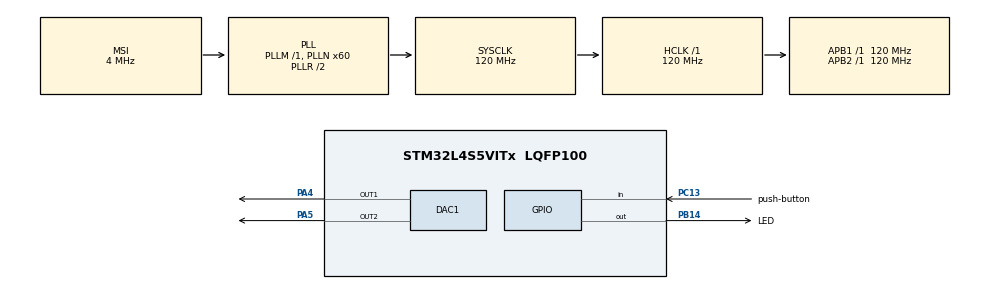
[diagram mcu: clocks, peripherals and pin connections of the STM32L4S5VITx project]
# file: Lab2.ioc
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ADC1.Channel-0\#ChannelRegularConversion=ADC_CHANNEL_VREFINT
ADC1.Channel-1\#ChannelRegularConversion=ADC_CHANNEL_TEMPSENSOR
ADC1.DiscontinuousConvMode=ENABLE
ADC1.NbrOfConversion=2
ADC1.NbrOfConversionFlag=1
ADC1.OffsetNumber-0\#ChannelRegularConversion=ADC_OFFSET_NONE
ADC1.OffsetNumber-1\#ChannelRegularConversion=ADC_OFFSET_NONE
ADC1.Rank-0\#ChannelRegularConversion=1
ADC1.Rank-1\#ChannelRegularConversion=2
ADC1.SamplingTime-0\#ChannelRegularConversion=ADC_SAMPLETIME_24CYCLES_5
ADC1.SamplingTime-1\#ChannelRegularConversion=ADC_SAMPLETIME_24CYCLES_5
ADC1.master=1
DAC1.DAC_Channel-DAC_OUT2=DAC_CHANNEL_2
Mcu.Family=STM32L4
Mcu.Name=STM32L4S5VITx
Mcu.Package=LQFP100
NVIC.PriorityGroup=NVIC_PRIORITYGROUP_4
PA13\ (JTMS/SWDIO).Signal=SYS_JTMS-SWDIO
PA4.Signal=COMP_DAC11_group
PA5.Signal=COMP_DAC12_group
PB14.GPIO_Label=LED
PB14.Signal=GPIO_Output
PB3\ (JTDO/TRACESWO).Signal=SYS_JTDO-SWO
PC13.GPIO_Label=push-button
PC13.Signal=GPIO_Input
ProjectManager.HeapSize=0x200
ProjectManager.StackSize=0x400
ProjectManager.TargetToolchain=STM32CubeIDE
RCC.ADCFreq_Value=48000000
RCC.AHBFreq_Value=120000000
RCC.APB1Freq_Value=120000000
RCC.APB1TimFreq_Value=120000000
RCC.APB2Freq_Value=120000000
RCC.APB2TimFreq_Value=120000000
RCC.CortexFreq_Value=120000000
RCC.HCLKFreq_Value=120000000
RCC.HSE_VALUE=8000000
RCC.HSI48_VALUE=48000000
RCC.HSI_VALUE=16000000
RCC.LSE_VALUE=32768
RCC.MSI_VALUE=4000000
RCC.PLLN=60
RCC.PLLSAI1N=24
RCC.SYSCLKFreq_VALUE=120000000
RCC.SYSCLKSource=RCC_SYSCLKSOURCE_PLLCLK
RCC.USBFreq_Value=48000000
RCC.VCOOutputFreq_Value=240000000
SH.COMP_DAC11_group.0=DAC1_OUT1,DAC_OUT1
SH.COMP_DAC12_group.0=DAC1_OUT2,DAC_OUT2
VP_ADC1_TempSens_Input.Mode=IN-TempSens
VP_ADC1_Vref_Input.Mode=IN-Vrefint
board=B-L4S5I-IOT01A

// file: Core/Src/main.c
/* USER CODE BEGIN Header */
/**
  ******************************************************************************
  * @file           : main.c
  * @brief          : Main program body
  ******************************************************************************
  * @attention
  *
  * Copyright (c) 2023 STMicroelectronics.
  * All rights reserved.
  *
  * This software is licensed under terms that can be found in the LICENSE file
  * in the root directory of this software component.
  * If no LICENSE file comes with this software, it is provided AS-IS.
  *
  ******************************************************************************
  */
/* USER CODE END Header */
#include "main.h"

/* USER CODE BEGIN Includes */
#define ARM_MATH_CM4
#include "arm_math.h"
/* USER CODE END Includes */

ADC_HandleTypeDef hadc1;

DAC_HandleTypeDef hdac1;

void SystemClock_Config(void);
static void MX_GPIO_Init(void);
static void MX_DAC1_Init(void);
static void MX_ADC1_Init(void);

int main(void)
{

  /* MCU Configuration--------------------------------------------------------*/

  /* Reset of all peripherals, Initializes the Flash interface and the Systick. */
  HAL_Init();

  /* USER CODE BEGIN Init */
  HAL_GPIO_WritePin(LED_GPIO_Port,LED_Pin, 0);
  /* USER CODE END Init */

  /* Configure the system clock */
  SystemClock_Config();

  /* Initialize all configured peripherals */
  MX_GPIO_Init();
  MX_DAC1_Init();
  MX_ADC1_Init();
  /* USER CODE BEGIN 2 */
  // PART 1
  // ==========================================================================
//     GPIO_PinState pbState;
  // ==========================================================================

  // PART 2
  // ==========================================================================
//   // Start DAC channels
//   HAL_DAC_Start(&hdac1, DAC_CHANNEL_1); // Pin D7
//   HAL_DAC_Start(&hdac1, DAC_CHANNEL_2); // Pin D13
//
//   // Variables to hold signals values
//   int tri_direction = 1;
//   uint8_t tri = 0;
//   uint8_t saw = 0;
//   float32_t angle = 0;
//   uint8_t sin = 0;
  // ==========================================================================

  // PART 3 & 4
  // ==========================================================================
     // Variables for voltages reading form ADC
     uint32_t vrefVoltage;
     uint32_t tempVoltage;

     // This function computes actual temperature in celsius given the Vref and
     // temperature sensor voltage readings
     uint32_t computeTemperature(uint32_t vrefVoltage, uint32_t tempVoltage){
    	 // Get calibration values
         int32_t VREFINT_CAL = (int32_t) *((uint16_t*) (0x1FFF75AAUL));
     	 int32_t TS_CAL2 = (int32_t) *((uint16_t*) (0x1FFF75CAUL));
     	 int32_t TS_CAL1 = (int32_t) *((uint16_t*) (0x1FFF75A8UL));

     	 float VREF = 3000.0 * (float) VREFINT_CAL / ((float) vrefVoltage);
     	 float tsData = ((float)tempVoltage * VREF / 3000.0);
     	 int32_t numerator = 110 - 30;
     	 int32_t denominator = TS_CAL2 - TS_CAL1;

     	 float scalar = ((float) numerator) / (/*VREF */ ((float) denominator));

     	 return scalar * (tsData - TS_CAL1) + 30;
     }
  // ==========================================================================

  // PART 4
  // ==========================================================================
  	 int tempMode = 0;
  	 GPIO_PinState pbState;

  	 // Returns 1 if PB was pushed down, 0 otherwise
  	 int pollPbPushDown(){
  		GPIO_PinState newState = HAL_GPIO_ReadPin(push_button_GPIO_Port, push_button_Pin);
  		int pushDown = 0;
  		if(newState == GPIO_PIN_RESET && newState != pbState){
  			pushDown = 1;
  		}
  		pbState = newState;
  		return pushDown;
  	 }

  	 // Variables to hold signal values
  	 int wave = 0;
  	 float32_t angle;
  	 uint8_t saw = 0;
  	 uint8_t tri = 0;
  	 int tri_direction = 1;

  	 // Start single DAC channel (D7)
  	 HAL_DAC_Start(&hdac1, DAC_CHANNEL_1);
  // ==========================================================================
  /* USER CODE END 2 */

  /* Infinite loop */
  /* USER CODE BEGIN WHILE */
  while (1)
  {
	  // PART 1
	  // ==========================================================================
//	   // Read PB state
//	   pbState = HAL_GPIO_ReadPin(push_button_GPIO_Port, push_button_Pin);
//
//	   // Write to LED depending on PB state
//	   if(pbState == GPIO_PIN_RESET){
//	  	 HAL_GPIO_WritePin(LED_GPIO_Port, LED_Pin, GPIO_PIN_SET);
//  	   } else {
//	   	 HAL_GPIO_WritePin(LED_GPIO_Port, LED_Pin, GPIO_PIN_RESET);
//       }
	  // ==========================================================================

	  // PART 2
	  // ==========================================================================
	   // Send signal values to DAC channels
//	   HAL_DAC_SetValue(&hdac1, DAC_CHANNEL_1, DAC_ALIGN_8B_R, tri * 0.75); // D7
//	   HAL_DAC_SetValue(&hdac1, DAC_CHANNEL_2, DAC_ALIGN_8B_R, sin * 0.75); // D13
//
//	   // Dummy for loop for frequency
//	   for(int i = 0; i < 100; i++);
//
//	   // Increment signals by appropriate amount
//	   saw += 5;
//	   angle += 0.130899;
//	   sin = (uint8_t) ((arm_sin_f32(angle) + 1) * 120);
//	   if(tri_direction) tri += 10;
//	   else tri -= 10;
//
//	   // Change triangular wave direction if needed
//	   if(tri == 240) tri_direction = 0;
//	   else if(tri == 0) tri_direction = 1;
//
//	   if(saw == 245) saw = 0;
	  // ==========================================================================

	  // PART 3
	  // ==========================================================================
//	   // Read Vref voltage
//	   HAL_ADC_Start(&hadc1);
//	   if(HAL_ADC_PollForConversion(&hadc1, 200) != HAL_OK) continue;
//	   vrefVoltage = HAL_ADC_GetValue(&hadc1);
//
//	   // Read temperature sensor voltage
//	   HAL_ADC_Start(&hadc1);
//	   if(HAL_ADC_PollForConversion(&hadc1, 200) != HAL_OK) continue;
//	   tempVoltage = HAL_ADC_GetValue(&hadc1);
//
//	   // Compute actual temperature in celsius
//	   uint32_t temp = computeTemperature(vrefVoltage, tempVoltage);
	  // ==========================================================================

	  // PART 4
	  // ==========================================================================
	  	 if(pollPbPushDown()){
	  		 // Invert temp mode
	  		 tempMode = !tempMode;

	  		 if(!tempMode){
	  			// Set LED to off
	  			HAL_GPIO_WritePin(LED_GPIO_Port, LED_Pin, GPIO_PIN_RESET);
	  		    // Cycle through triangular, sawtooth and sine wave.
	  			wave++;
	  			if(wave == 3) wave = 0;
	  		 } else {
	  			// Set LED to on
	  			HAL_GPIO_WritePin(LED_GPIO_Port, LED_Pin, GPIO_PIN_SET);
	  		 }
	  	 }

	  	 uint8_t signal;

	  	 if(tempMode){
	  		// Get temperature reading
	  		HAL_ADC_Start(&hadc1);
		    if(HAL_ADC_PollForConversion(&hadc1, 200) != HAL_OK) continue;
	  		vrefVoltage = HAL_ADC_GetValue(&hadc1);

	  		HAL_ADC_Start(&hadc1);
	  		if(HAL_ADC_PollForConversion(&hadc1, 200) != HAL_OK) continue;
	  		tempVoltage = HAL_ADC_GetValue(&hadc1);

	  		uint32_t temp = computeTemperature(vrefVoltage, tempVoltage);

	  		// Increment angle depending on temp value
	  		angle += (float) (temp - 20) * 0.130899;
	  		signal = (uint8_t) ((arm_sin_f32(angle) + 1) * 120);
	  	 } else {
	  		switch(wave){
	  			case 0: // Case sine wave
					angle += 0.130899;
					signal = (uint8_t) ((arm_sin_f32(angle) + 1) * 120);
					break;
	  			case 1: // Case sawtooth wave
	  				saw += 5;
	  				signal = saw;
	  				if(saw == 245) saw = 0;
	  				break;
	  			default: // Case triangular wave
	  				if(tri_direction) tri += 10;
	  				else tri -= 10;

	  				if(tri == 240) tri_direction = 0;
	  				else if(tri == 0) tri_direction = 1;

	  				signal = tri;
	  		}

	  		// Dummy for loop for frequency
	  		for(int i = 0; i < 125; i++);
	  	 }

	  	 // Send signal to speaker
	  	 HAL_DAC_SetValue(&hdac1, DAC_CHANNEL_1, DAC_ALIGN_8B_R, signal * 0.75);
	  // ==========================================================================

    /* USER CODE END WHILE */

  }
}

void SystemClock_Config(void)
{
  RCC_OscInitTypeDef RCC_OscInitStruct = {0};
  RCC_ClkInitTypeDef RCC_ClkInitStruct = {0};

  /** Configure the main internal regulator output voltage
  */
  if (HAL_PWREx_ControlVoltageScaling(PWR_REGULATOR_VOLTAGE_SCALE1_BOOST) != HAL_OK)
  {
    Error_Handler();
  }

  /** Initializes the RCC Oscillators according to the specified parameters
  * in the RCC_OscInitTypeDef structure.
  */
  RCC_OscInitStruct.OscillatorType = RCC_OSCILLATORTYPE_MSI;
  RCC_OscInitStruct.MSIState = RCC_MSI_ON;
  RCC_OscInitStruct.MSICalibrationValue = 0;
  RCC_OscInitStruct.MSIClockRange = RCC_MSIRANGE_6;
  RCC_OscInitStruct.PLL.PLLState = RCC_PLL_ON;
  RCC_OscInitStruct.PLL.PLLSource = RCC_PLLSOURCE_MSI;
  RCC_OscInitStruct.PLL.PLLM = 1;
  RCC_OscInitStruct.PLL.PLLN = 60;
  RCC_OscInitStruct.PLL.PLLP = RCC_PLLP_DIV2;
  RCC_OscInitStruct.PLL.PLLQ = RCC_PLLQ_DIV2;
  RCC_OscInitStruct.PLL.PLLR = RCC_PLLR_DIV2;
  if (HAL_RCC_OscConfig(&RCC_OscInitStruct) != HAL_OK)
  {
    Error_Handler();
  }

  /** Initializes the CPU, AHB and APB buses clocks
  */
  RCC_ClkInitStruct.ClockType = RCC_CLOCKTYPE_HCLK|RCC_CLOCKTYPE_SYSCLK
                              |RCC_CLOCKTYPE_PCLK1|RCC_CLOCKTYPE_PCLK2;
  RCC_ClkInitStruct.SYSCLKSource = RCC_SYSCLKSOURCE_PLLCLK;
  RCC_ClkInitStruct.AHBCLKDivider = RCC_SYSCLK_DIV1;
  RCC_ClkInitStruct.APB1CLKDivider = RCC_HCLK_DIV1;
  RCC_ClkInitStruct.APB2CLKDivider = RCC_HCLK_DIV1;

  if (HAL_RCC_ClockConfig(&RCC_ClkInitStruct, FLASH_LATENCY_5) != HAL_OK)
  {
    Error_Handler();
  }
}

static void MX_ADC1_Init(void)
{

  ADC_ChannelConfTypeDef sConfig = {0};

  /** Common config
  */
  hadc1.Instance = ADC1;
  hadc1.Init.ClockPrescaler = ADC_CLOCK_ASYNC_DIV1;
  hadc1.Init.Resolution = ADC_RESOLUTION_12B;
  hadc1.Init.DataAlign = ADC_DATAALIGN_RIGHT;
  hadc1.Init.ScanConvMode = ADC_SCAN_ENABLE;
  hadc1.Init.EOCSelection = ADC_EOC_SINGLE_CONV;
  hadc1.Init.LowPowerAutoWait = DISABLE;
  hadc1.Init.ContinuousConvMode = DISABLE;
  hadc1.Init.NbrOfConversion = 2;
  hadc1.Init.DiscontinuousConvMode = ENABLE;
  hadc1.Init.NbrOfDiscConversion = 1;
  hadc1.Init.ExternalTrigConv = ADC_SOFTWARE_START;
  hadc1.Init.ExternalTrigConvEdge = ADC_EXTERNALTRIGCONVEDGE_NONE;
  hadc1.Init.DMAContinuousRequests = DISABLE;
  hadc1.Init.Overrun = ADC_OVR_DATA_PRESERVED;
  hadc1.Init.OversamplingMode = DISABLE;
  if (HAL_ADC_Init(&hadc1) != HAL_OK)
  {
    Error_Handler();
  }

  /** Configure Regular Channel
  */
  sConfig.Channel = ADC_CHANNEL_VREFINT;
  sConfig.Rank = ADC_REGULAR_RANK_1;
  sConfig.SamplingTime = ADC_SAMPLETIME_24CYCLES_5;
  sConfig.SingleDiff = ADC_SINGLE_ENDED;
  sConfig.OffsetNumber = ADC_OFFSET_NONE;
  sConfig.Offset = 0;
  if (HAL_ADC_ConfigChannel(&hadc1, &sConfig) != HAL_OK)
  {
    Error_Handler();
  }

  /** Configure Regular Channel
  */
  sConfig.Channel = ADC_CHANNEL_TEMPSENSOR;
  sConfig.Rank = ADC_REGULAR_RANK_2;
  if (HAL_ADC_ConfigChannel(&hadc1, &sConfig) != HAL_OK)
  {
    Error_Handler();
  }

}

static void MX_DAC1_Init(void)
{

  DAC_ChannelConfTypeDef sConfig = {0};

  /** DAC Initialization
  */
  hdac1.Instance = DAC1;
  if (HAL_DAC_Init(&hdac1) != HAL_OK)
  {
    Error_Handler();
  }

  /** DAC channel OUT1 config
  */
  sConfig.DAC_SampleAndHold = DAC_SAMPLEANDHOLD_DISABLE;
  sConfig.DAC_Trigger = DAC_TRIGGER_NONE;
  sConfig.DAC_HighFrequency = DAC_HIGH_FREQUENCY_INTERFACE_MODE_ABOVE_80MHZ;
  sConfig.DAC_OutputBuffer = DAC_OUTPUTBUFFER_ENABLE;
  sConfig.DAC_ConnectOnChipPeripheral = DAC_CHIPCONNECT_DISABLE;
  sConfig.DAC_UserTrimming = DAC_TRIMMING_FACTORY;
  if (HAL_DAC_ConfigChannel(&hdac1, &sConfig, DAC_CHANNEL_1) != HAL_OK)
  {
    Error_Handler();
  }

  /** DAC channel OUT2 config
  */
  if (HAL_DAC_ConfigChannel(&hdac1, &sConfig, DAC_CHANNEL_2) != HAL_OK)
  {
    Error_Handler();
  }

}

static void MX_GPIO_Init(void)
{
  GPIO_InitTypeDef GPIO_InitStruct = {0};

  /* GPIO Ports Clock Enable */
  __HAL_RCC_GPIOC_CLK_ENABLE();
  __HAL_RCC_GPIOA_CLK_ENABLE();
  __HAL_RCC_GPIOB_CLK_ENABLE();

  /*Configure GPIO pin Output Level */
  HAL_GPIO_WritePin(LED_GPIO_Port, LED_Pin, GPIO_PIN_RESET);

  /*Configure GPIO pin : push_button_Pin */
  GPIO_InitStruct.Pin = push_button_Pin;
  GPIO_InitStruct.Mode = GPIO_MODE_INPUT;
  GPIO_InitStruct.Pull = GPIO_NOPULL;
  HAL_GPIO_Init(push_button_GPIO_Port, &GPIO_InitStruct);

  /*Configure GPIO pin : LED_Pin */
  GPIO_InitStruct.Pin = LED_Pin;
  GPIO_InitStruct.Mode = GPIO_MODE_OUTPUT_PP;
  GPIO_InitStruct.Pull = GPIO_NOPULL;
  GPIO_InitStruct.Speed = GPIO_SPEED_FREQ_LOW;
  HAL_GPIO_Init(LED_GPIO_Port, &GPIO_InitStruct);

}

void Error_Handler(void)
{
  __disable_irq();
  while (1)
  {
  }
}
